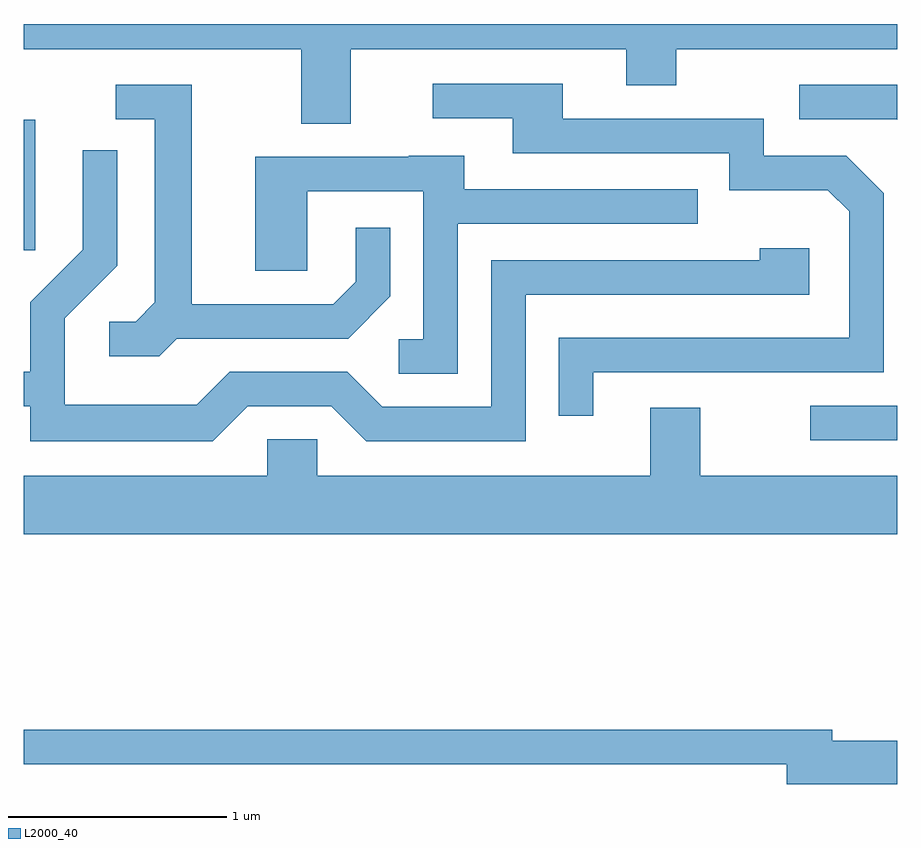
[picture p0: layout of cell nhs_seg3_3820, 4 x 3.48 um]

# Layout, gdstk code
import gdstk
lib = gdstk.Library(unit=1e-6, precision=1e-09)
def R(c, l, rs):  # rectangles x0, y0, x1, y1
    for r in rs: c.add(gdstk.rectangle(r[:2], r[2:], *l))
def P(c, l, *ps):  # polygons
    for p in ps: c.add(gdstk.Polygon(p, *l))
L2000_40 = (2000, 40)

nhs_seg3_3820 = lib.new_cell('nhs_seg3_3820')
R(nhs_seg3_3820, L2000_40, [(301.213,1141.986,301.611,1142.144), (297.611,1142.856,297.664,1143.454)])
P(nhs_seg3_3820, L2000_40, [(299.109,1143.776),(300.371,1143.776),(300.371,1143.611),(300.599,1143.611),(300.599,1143.776),(301.611,1143.776),(301.611,1143.892),(297.611,1143.892),(297.611,1143.776),(298.881,1143.776),(298.881,1143.436),(299.109,1143.436)],
  [(300.219,1142.296),(301.549,1142.296),(301.549,1143.117),(301.377,1143.289),(300.999,1143.289),(300.999,1143.459),(300.079,1143.459),(300.079,1143.619),(299.483,1143.619),(299.483,1143.461),(299.851,1143.461),(299.851,1143.301),(300.841,1143.301),(300.841,1143.131),(301.294,1143.131),(301.391,1143.034),(301.391,1142.454),(300.061,1142.454),(300.061,1142.098),(300.219,1142.098)],
  [(298.312,1142.451),(299.097,1142.451),(299.289,1142.644),(299.289,1142.958),(299.131,1142.958),(299.131,1142.712),(299.029,1142.609),(298.379,1142.609),(298.379,1143.614),(298.033,1143.614),(298.033,1143.456),(298.211,1143.456),(298.211,1142.617),(298.124,1142.529),(298.003,1142.529),(298.003,1142.371),(298.232,1142.371)],
  [(301.611,1143.614),(301.163,1143.614),(301.163,1143.456),(301.609,1143.456),(301.611,1143.454)],
  [(298.637,1142.141),(299.019,1142.141),(299.179,1141.981),(299.909,1141.981),(299.909,1142.651),(301.209,1142.651),(301.209,1142.864),(300.981,1142.864),(300.981,1142.809),(299.751,1142.809),(299.751,1142.139),(299.252,1142.139),(299.092,1142.299),(298.554,1142.299),(298.404,1142.149),(297.799,1142.149),(297.799,1142.544),(298.039,1142.784),(298.039,1143.313),(297.881,1143.313),(297.881,1142.857),(297.641,1142.617),(297.641,1142.299),(297.611,1142.299),(297.611,1142.141),(297.641,1142.141),(297.641,1141.981),(298.477,1141.981)],
  [(299.599,1142.976),(300.698,1142.976),(300.698,1143.134),(299.629,1143.134),(299.629,1143.289),(299.375,1143.289),(299.375,1143.284),(298.671,1143.284),(298.671,1142.761),(298.909,1142.761),(298.909,1143.126),(299.441,1143.126),(299.441,1142.449),(299.328,1142.449),(299.328,1142.291),(299.599,1142.291)],
  [(301.611,1141.824),(300.709,1141.824),(300.709,1142.134),(300.481,1142.134),(300.481,1141.824),(298.954,1141.824),(298.954,1141.989),(298.726,1141.989),(298.726,1141.824),(297.611,1141.824),(297.611,1141.556),(301.611,1141.556)],
  [(301.611,1140.609),(301.314,1140.609),(301.314,1140.659),(297.611,1140.659),(297.611,1140.501),(301.106,1140.501),(301.106,1140.411),(301.611,1140.411)])

lib.write_gds('nhs_seg3_3820.gds')
